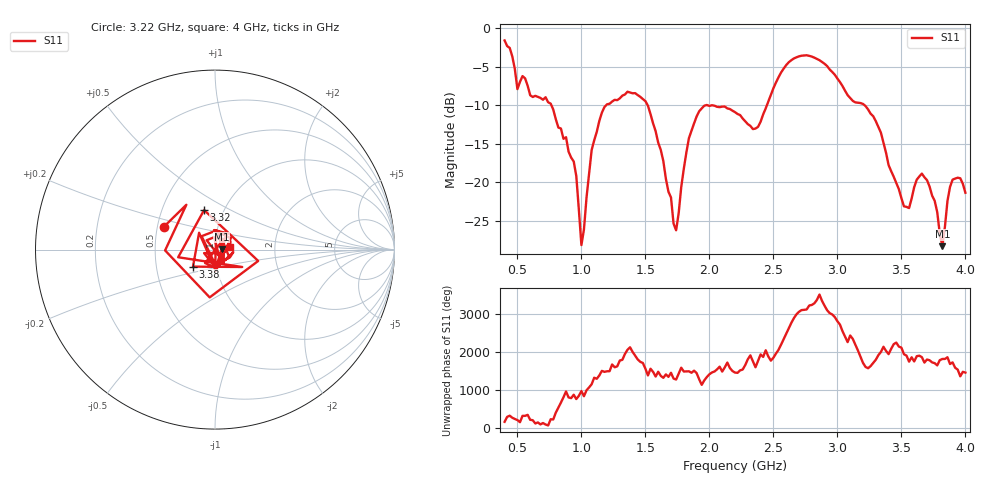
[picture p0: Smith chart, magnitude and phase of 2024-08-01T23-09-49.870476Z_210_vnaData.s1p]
!Created with skrf (http://scikit-rf.org).
# Hz S RI R 50.0
!freq ReS11 ImS11
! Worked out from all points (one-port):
!   181 points, 400 MHz to 4 GHz, reference 50 ohm
!   lowest |S11| = -28.3 dB at 3.82 GHz (marker M1), VSWR 1.08, Z = 54 + j0.461 ohm
!   |S11| at or under -10 dB: 1.517 GHz to 1.976 GHz (459 MHz wide, 26.3 % of centre); 1.983 GHz to 2.45 GHz (466.6 MHz wide, 21.1 % of centre); 3.211 GHz to end of sweep (the widest 3 of 4)
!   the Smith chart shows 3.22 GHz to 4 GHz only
!   S11 on the Smith chart (normalised r, x): 3.22 GHz: 0.54, +0.15; 3.32 GHz: 0.81, +0.38; 3.38 GHz: 0.77, -0.15; 4 GHz: 1.18, +0.03
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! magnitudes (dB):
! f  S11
! 400 MHz  -1.6
! 500 MHz  -7.9
! 720 MHz  -9.0
! 860 MHz  -14.4
! 960 MHz  -19.2
! 1 GHz  -28.2
! 1.08 GHz  -15.8
! 1.18 GHz  -10.2
! 1.3 GHz  -9.1
! 1.52 GHz  -10.1
! 1.72 GHz  -25.4
! 1.76 GHz  -24.0
! 1.84 GHz  -14.3
! 1.92 GHz  -10.8
! 2.2 GHz  -10.9
! 2.38 GHz  -12.8
! 2.66 GHz  -3.9
! 2.86 GHz  -4.2
! 3.1 GHz  -9.1
! 3.22 GHz  -10.1
! 3.32 GHz  -12.8
! 3.38 GHz  -16.2
! 3.56 GHz  -23.4
! 3.66 GHz  -18.9
! 3.76 GHz  -22.4
! 3.82 GHz  -28.3
! 3.9 GHz  -19.7
! 4 GHz  -21.4
